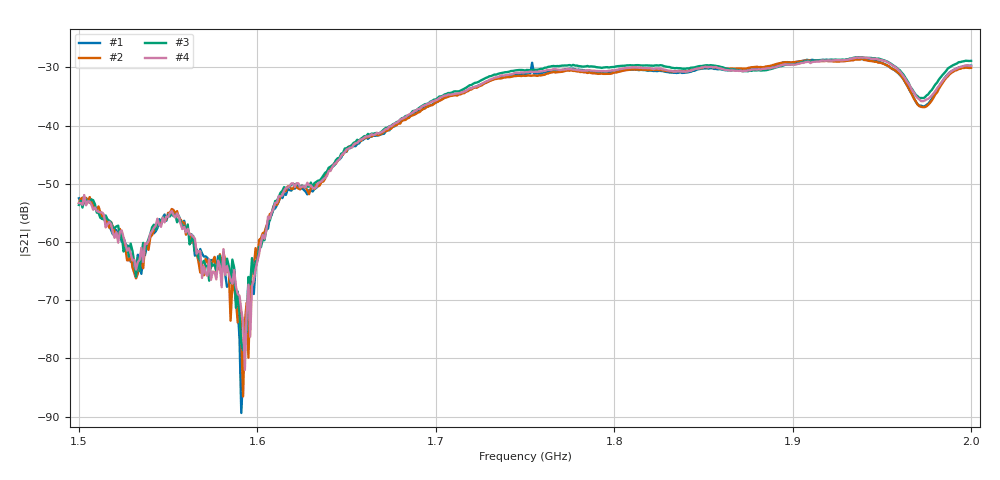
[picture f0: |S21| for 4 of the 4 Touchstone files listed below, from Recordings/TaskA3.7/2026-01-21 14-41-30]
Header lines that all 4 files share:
! NanoVNA-App by SYSJOINT et al v1.1.209 (+OD18)
! Start: 1,5GHz Stop: 2GHz Points: 501
! S-Parameter data: F S11 S21 S12 S22
# Hz S RI R 50
!  Frequency  S11_Real  S11_Imag  S21_Real  S21_Imag  S12_Real  S12_Imag  S22_Real  S22_Imag
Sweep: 1.5 GHz to 2 GHz
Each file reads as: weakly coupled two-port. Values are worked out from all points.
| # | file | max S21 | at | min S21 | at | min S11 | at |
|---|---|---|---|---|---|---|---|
| 1 | 0.s2p | -28.51 dB | 1.938 GHz | -89.4 dB | 1.591 GHz | -29.9 dB | 1.817 GHz |
| 2 | 1.s2p | -28.29 dB | 1.939 GHz | -86.5 dB | 1.592 GHz | -30.0 dB | 1.817 GHz |
| 3 | 2.s2p | -28.26 dB | 1.936 GHz | -78.6 dB | 1.592 GHz | -30.0 dB | 1.817 GHz |
| 4 | 3.s2p | -28.29 dB | 1.936 GHz | -82.0 dB | 1.593 GHz | -29.2 dB | 1.817 GHz |
